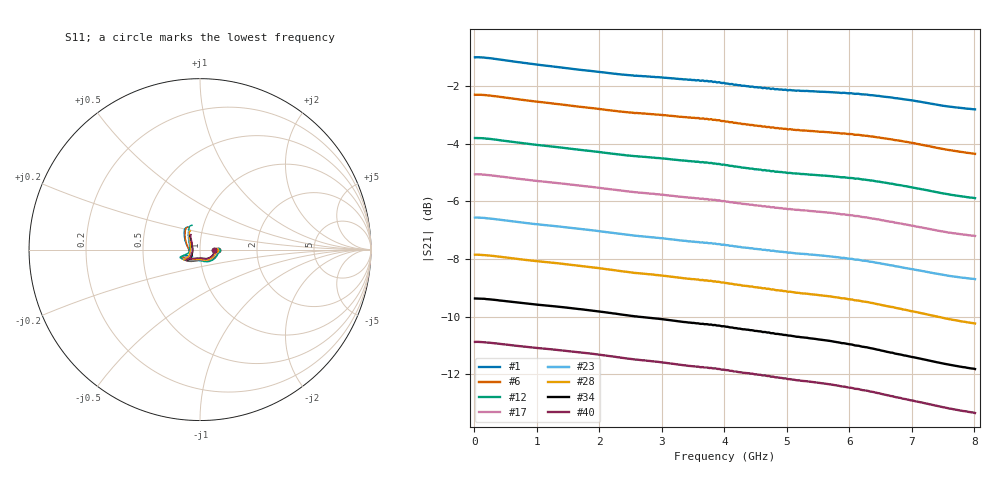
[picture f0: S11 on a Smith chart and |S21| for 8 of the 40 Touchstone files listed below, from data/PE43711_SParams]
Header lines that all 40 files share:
! Device ID: PE43711P
! Serial: 5
! Lot: A0137A
! Temp: 25C
! VDD: 3.300
! VSS: 0.000
! Control_Hi: 3.000
! Control_Lo: 0.000
! Port 1: RF1
! Port 2: RF2
! ThroughPath:1-2
#  Hz  S  RI  R  50
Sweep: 10 MHz to 8.01 GHz
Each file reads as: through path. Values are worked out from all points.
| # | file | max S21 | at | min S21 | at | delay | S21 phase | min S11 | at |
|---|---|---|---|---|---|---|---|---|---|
| 1 | S_PE43711P_25C_3p300V_3p000V_0p000V_LS_ATT_0p00dB_S2P_SN_5_A0137A.s2p | -1.00 dB | 40 MHz | -2.8 dB | 8.01 GHz | 58.1 ps | -86 deg at 4.01 GHz | -25.3 dB | 2.86 GHz |
| 2 | S_PE43711P_25C_3p300V_3p000V_0p000V_LS_ATT_0p25dB_S2P_SN_5_A0137A.s2p | -1.26 dB | 10 MHz | -3.2 dB | 8.01 GHz | 59 ps | -88 deg at 4.01 GHz | -25.0 dB | 6.35 GHz |
| 3 | S_PE43711P_25C_3p300V_3p000V_0p000V_LS_ATT_0p50dB_S2P_SN_5_A0137A.s2p | -1.52 dB | 50 MHz | -3.4 dB | 8.01 GHz | 58.9 ps | -87 deg at 4.01 GHz | -25.0 dB | 6.42 GHz |
| 4 | S_PE43711P_25C_3p300V_3p000V_0p000V_LS_ATT_0p75dB_S2P_SN_5_A0137A.s2p | -1.78 dB | 10 MHz | -3.8 dB | 8.01 GHz | 59.8 ps | -89 deg at 4.01 GHz | -24.9 dB | 6.34 GHz |
| 5 | S_PE43711P_25C_3p300V_3p000V_0p000V_LS_ATT_1p00dB_S2P_SN_5_A0137A.s2p | -2.03 dB | 50 MHz | -4.0 dB | 8.01 GHz | 58.7 ps | -87 deg at 4.01 GHz | -24.7 dB | 2.87 GHz |
| 6 | S_PE43711P_25C_3p300V_3p000V_0p000V_LS_ATT_1p25dB_S2P_SN_5_A0137A.s2p | -2.30 dB | 50 MHz | -4.3 dB | 8.01 GHz | 59.6 ps | -88 deg at 4.01 GHz | -24.4 dB | 2.86 GHz |
| 7 | S_PE43711P_25C_3p300V_3p000V_0p000V_LS_ATT_1p50dB_S2P_SN_5_A0137A.s2p | -2.55 dB | 10 MHz | -4.6 dB | 8.01 GHz | 59.5 ps | -88 deg at 4.01 GHz | -24.4 dB | 2.86 GHz |
| 8 | S_PE43711P_25C_3p300V_3p000V_0p000V_LS_ATT_1p75dB_S2P_SN_5_A0137A.s2p | -2.81 dB | 40 MHz | -5.0 dB | 8.01 GHz | 60.4 ps | -89 deg at 4.01 GHz | -24.2 dB | 2.87 GHz |
| 9 | S_PE43711P_25C_3p300V_3p000V_0p000V_LS_ATT_2p00dB_S2P_SN_5_A0137A.s2p | -3.02 dB | 40 MHz | -4.9 dB | 8.01 GHz | 57.4 ps | -85 deg at 4.01 GHz | -24.7 dB | 6.42 GHz |
| 10 | S_PE43711P_25C_3p300V_3p000V_0p000V_LS_ATT_2p25dB_S2P_SN_5_A0137A.s2p | -3.29 dB | 50 MHz | -5.3 dB | 8.01 GHz | 58.3 ps | -87 deg at 4.01 GHz | -24.3 dB | 6.38 GHz |
| 11 | S_PE43711P_25C_3p300V_3p000V_0p000V_LS_ATT_2p50dB_S2P_SN_5_A0137A.s2p | -3.54 dB | 50 MHz | -5.5 dB | 8.01 GHz | 58.1 ps | -86 deg at 4.01 GHz | -24.4 dB | 6.42 GHz |
| 12 | S_PE43711P_25C_3p300V_3p000V_0p000V_LS_ATT_2p75dB_S2P_SN_5_A0137A.s2p | -3.80 dB | 50 MHz | -5.9 dB | 8.01 GHz | 59 ps | -88 deg at 4.01 GHz | -24.2 dB | 6.36 GHz |
| 13 | S_PE43711P_25C_3p300V_3p000V_0p000V_LS_ATT_3p00dB_S2P_SN_5_A0137A.s2p | -4.05 dB | 10 MHz | -6.1 dB | 8.01 GHz | 58.1 ps | -86 deg at 4.01 GHz | -24.1 dB | 2.89 GHz |
| 14 | S_PE43711P_25C_3p300V_3p000V_0p000V_LS_ATT_3p25dB_S2P_SN_5_A0137A.s2p | -4.31 dB | 10 MHz | -6.5 dB | 8.01 GHz | 58.9 ps | -87 deg at 4.01 GHz | -23.9 dB | 2.87 GHz |
| 15 | S_PE43711P_25C_3p300V_3p000V_0p000V_LS_ATT_3p50dB_S2P_SN_5_A0137A.s2p | -4.54 dB | 50 MHz | -6.6 dB | 8.01 GHz | 56.6 ps | -84 deg at 4.01 GHz | -26.0 dB | 6.44 GHz |
| 16 | S_PE43711P_25C_3p300V_3p000V_0p000V_LS_ATT_3p75dB_S2P_SN_5_A0137A.s2p | -4.81 dB | 50 MHz | -7.0 dB | 8.01 GHz | 57.5 ps | -85 deg at 4.01 GHz | -25.7 dB | 6.44 GHz |
| 17 | S_PE43711P_25C_3p300V_3p000V_0p000V_LS_ATT_4p00dB_S2P_SN_5_A0137A.s2p | -5.06 dB | 50 MHz | -7.2 dB | 8.01 GHz | 57.3 ps | -85 deg at 4.01 GHz | -25.7 dB | 6.44 GHz |
| 18 | S_PE43711P_25C_3p300V_3p000V_0p000V_LS_ATT_4p25dB_S2P_SN_5_A0137A.s2p | -5.32 dB | 50 MHz | -7.5 dB | 8.01 GHz | 58.2 ps | -86 deg at 4.01 GHz | -25.6 dB | 6.44 GHz |
| 19 | S_PE43711P_25C_3p300V_3p000V_0p000V_LS_ATT_4p50dB_S2P_SN_5_A0137A.s2p | -5.57 dB | 10 MHz | -7.8 dB | 8.01 GHz | 57 ps | -85 deg at 4.01 GHz | -25.5 dB | 6.44 GHz |
| 20 | S_PE43711P_25C_3p300V_3p000V_0p000V_LS_ATT_4p75dB_S2P_SN_5_A0137A.s2p | -5.83 dB | 10 MHz | -8.1 dB | 8.01 GHz | 57.9 ps | -86 deg at 4.01 GHz | -25.5 dB | 6.44 GHz |
| 21 | S_PE43711P_25C_3p300V_3p000V_0p000V_LS_ATT_5p00dB_S2P_SN_5_A0137A.s2p | -6.08 dB | 10 MHz | -8.4 dB | 8.01 GHz | 57.8 ps | -86 deg at 4.01 GHz | -25.4 dB | 6.44 GHz |
| 22 | S_PE43711P_25C_3p300V_3p000V_0p000V_LS_ATT_5p25dB_S2P_SN_5_A0137A.s2p | -6.35 dB | 10 MHz | -8.7 dB | 8.01 GHz | 58.6 ps | -87 deg at 4.01 GHz | -25.4 dB | 6.44 GHz |
| 23 | S_PE43711P_25C_3p300V_3p000V_0p000V_LS_ATT_5p50dB_S2P_SN_5_A0137A.s2p | -6.56 dB | 10 MHz | -8.7 dB | 8.01 GHz | 55.9 ps | -83 deg at 4.01 GHz | -25.5 dB | 6.44 GHz |
| 24 | S_PE43711P_25C_3p300V_3p000V_0p000V_LS_ATT_5p75dB_S2P_SN_5_A0137A.s2p | -6.82 dB | 10 MHz | -9.1 dB | 8.01 GHz | 56.7 ps | -84 deg at 4.01 GHz | -25.3 dB | 6.44 GHz |
| 25 | S_PE43711P_25C_3p300V_3p000V_0p000V_LS_ATT_6p00dB_S2P_SN_5_A0137A.s2p | -7.07 dB | 10 MHz | -9.3 dB | 8.01 GHz | 56.5 ps | -84 deg at 4.01 GHz | -25.3 dB | 6.44 GHz |
| 26 | S_PE43711P_25C_3p300V_3p000V_0p000V_LS_ATT_6p25dB_S2P_SN_5_A0137A.s2p | -7.34 dB | 10 MHz | -9.6 dB | 8.01 GHz | 57.4 ps | -85 deg at 4.01 GHz | -25.2 dB | 6.44 GHz |
| 27 | S_PE43711P_25C_3p300V_3p000V_0p000V_LS_ATT_6p50dB_S2P_SN_5_A0137A.s2p | -7.58 dB | 50 MHz | -9.9 dB | 8.01 GHz | 56.3 ps | -84 deg at 4.01 GHz | -25.2 dB | 6.44 GHz |
| 28 | S_PE43711P_25C_3p300V_3p000V_0p000V_LS_ATT_6p75dB_S2P_SN_5_A0137A.s2p | -7.85 dB | 50 MHz | -10.2 dB | 8.01 GHz | 57.1 ps | -85 deg at 4.01 GHz | -25.2 dB | 6.44 GHz |
| 29 | S_PE43711P_25C_3p300V_3p000V_0p000V_LS_ATT_7p00dB_S2P_SN_5_A0137A.s2p | -8.10 dB | 50 MHz | -10.5 dB | 8.01 GHz | 57 ps | -85 deg at 4.01 GHz | -25.2 dB | 6.44 GHz |
| 30 | S_PE43711P_25C_3p300V_3p000V_0p000V_LS_ATT_7p25dB_S2P_SN_5_A0137A.s2p | -8.36 dB | 50 MHz | -10.8 dB | 8.01 GHz | 57.8 ps | -86 deg at 4.01 GHz | -25.2 dB | 6.44 GHz |
| 31 | S_PE43711P_25C_3p300V_3p000V_0p000V_LS_ATT_7p50dB_S2P_SN_5_A0137A.s2p | -8.59 dB | 50 MHz | -10.9 dB | 8.01 GHz | 55.2 ps | -82 deg at 4.01 GHz | -27.6 dB | 6.61 GHz |
| 32 | S_PE43711P_25C_3p300V_3p000V_0p000V_LS_ATT_7p75dB_S2P_SN_5_A0137A.s2p | -8.86 dB | 10 MHz | -11.2 dB | 8.01 GHz | 56 ps | -83 deg at 4.01 GHz | -27.5 dB | 6.61 GHz |
| 33 | S_PE43711P_25C_3p300V_3p000V_0p000V_LS_ATT_8p00dB_S2P_SN_5_A0137A.s2p | -9.10 dB | 50 MHz | -11.5 dB | 8.01 GHz | 54.7 ps | -82 deg at 4.01 GHz | -27.6 dB | 6.62 GHz |
| 34 | S_PE43711P_25C_3p300V_3p000V_0p000V_LS_ATT_8p25dB_S2P_SN_5_A0137A.s2p | -9.37 dB | 50 MHz | -11.8 dB | 8.01 GHz | 55.6 ps | -83 deg at 4.01 GHz | -27.6 dB | 6.61 GHz |
| 35 | S_PE43711P_25C_3p300V_3p000V_0p000V_LS_ATT_8p50dB_S2P_SN_5_A0137A.s2p | -9.62 dB | 50 MHz | -12.1 dB | 8.01 GHz | 55.5 ps | -83 deg at 4.01 GHz | -27.6 dB | 6.61 GHz |
| 36 | S_PE43711P_25C_3p300V_3p000V_0p000V_LS_ATT_8p75dB_S2P_SN_5_A0137A.s2p | -9.88 dB | 50 MHz | -12.4 dB | 8.01 GHz | 56.3 ps | -84 deg at 4.01 GHz | -27.5 dB | 6.61 GHz |
| 37 | S_PE43711P_25C_3p300V_3p000V_0p000V_LS_ATT_9p00dB_S2P_SN_5_A0137A.s2p | -10.10 dB | 50 MHz | -12.4 dB | 8.01 GHz | 53.7 ps | -80 deg at 4.01 GHz | -27.5 dB | 6.61 GHz |
| 38 | S_PE43711P_25C_3p300V_3p000V_0p000V_LS_ATT_9p25dB_S2P_SN_5_A0137A.s2p | -10.36 dB | 10 MHz | -12.7 dB | 8.01 GHz | 54.5 ps | -81 deg at 4.01 GHz | -27.4 dB | 6.61 GHz |
| 39 | S_PE43711P_25C_3p300V_3p000V_0p000V_LS_ATT_9p50dB_S2P_SN_5_A0137A.s2p | -10.61 dB | 50 MHz | -13.0 dB | 8.01 GHz | 54.4 ps | -81 deg at 4.01 GHz | -27.4 dB | 6.61 GHz |
| 40 | S_PE43711P_25C_3p300V_3p000V_0p000V_LS_ATT_9p75dB_S2P_SN_5_A0137A.s2p | -10.87 dB | 50 MHz | -13.3 dB | 8.01 GHz | 55.2 ps | -82 deg at 4.01 GHz | -27.3 dB | 6.61 GHz |
